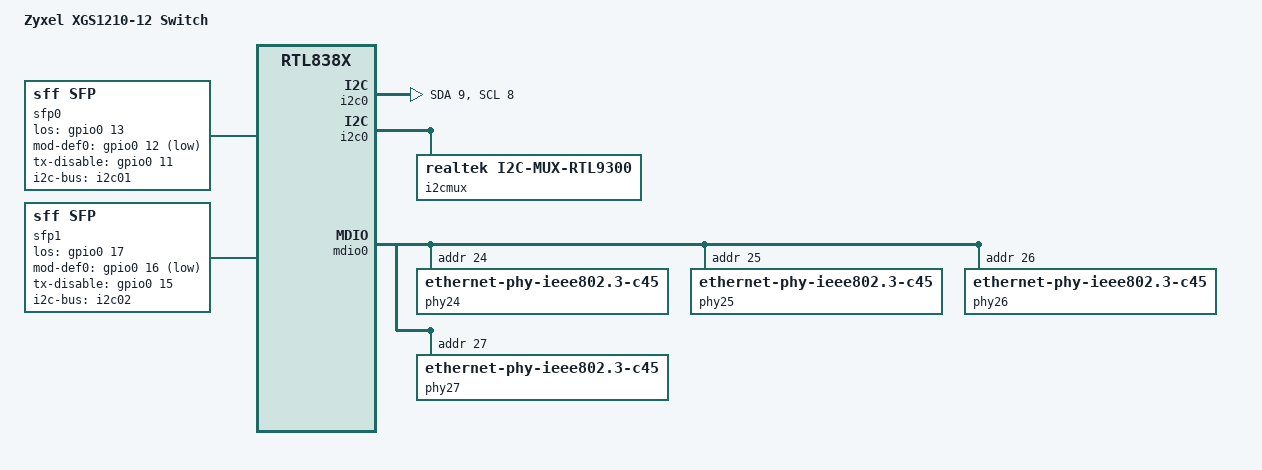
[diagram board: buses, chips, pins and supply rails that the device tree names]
// SPDX-License-Identifier: (GPL-2.0-or-later OR MIT)
/dts-v1/;

#include "rtl9302_zyxel_xgs12xx.dtsi"

/ {
	compatible = "zyxel,xgs1210-12", "realtek,rtl838x-soc";
	model = "Zyxel XGS1210-12 Switch";

	i2c0: i2c-rtl9300 {
		compatible = "realtek,rtl9300-i2c";
		reg = <0x1b00036c 0x3c>;
		#address-cells = <1>;
		#size-cells = <0>;
		sda-pin = <9>;
		scl-pin = <8>;
	};

	i2cmux {
		compatible = "realtek,i2c-mux-rtl9300";
		#address-cells = <1>;
		#size-cells = <0>;
		i2c-parent = <&i2c0>;

		/* i2c of the left SFP+ cage as seen from the front: port 11 */
		i2c01: i2c-rtl9300-1 {
			reg = <1>;
			#address-cells = <1>;
			#size-cells = <0>;
			sda-pin = <9>;
			scl-pin = <8>;
		};

		/* i2c of the right SFP+ cage as seen from the front: port 12 */
		i2c02: i2c-rtl9300-2 {
			reg = <2>;
			#address-cells = <1>;
			#size-cells = <0>;
			sda-pin = <10>;
			scl-pin = <8>;
		};
	};

	sfp0: sfp-p11 {
		compatible = "sff,sfp";
		i2c-bus = <&i2c01>;
		los-gpio = <&gpio0 13 GPIO_ACTIVE_HIGH>;
		mod-def0-gpio = <&gpio0 12 GPIO_ACTIVE_LOW>;
		tx-disable-gpio = <&gpio0 11 GPIO_ACTIVE_HIGH>;
	};

	sfp1: sfp-p12 {
		compatible = "sff,sfp";
		i2c-bus = <&i2c02>;
		los-gpio = <&gpio0 17 GPIO_ACTIVE_HIGH>;
		mod-def0-gpio = <&gpio0 16 GPIO_ACTIVE_LOW>;
		tx-disable-gpio = <&gpio0 15 GPIO_ACTIVE_HIGH>;
	};
};

&partitions {
	partition@300000 {
		openwrt,ih-magic = <0x93001210>;
	};
};

&mdio0 {
	/* External single port 1Gbit/2.5Gbit  RTL8226 PHY */
	phy24: ethernet-phy@24 {
		reg = <24>;
		compatible = "ethernet-phy-ieee802.3-c45";
		rtl9300,smi-address = <1 8>;
		sds = <6>;
	};

	phy25: ethernet-phy@25 {
		reg = <25>;
		compatible = "ethernet-phy-ieee802.3-c45";
		rtl9300,smi-address = <2 9>;
		sds = <7>;
	};

	/* SFP+ Ports */
	phy26: ethernet-phy@26 {
		compatible = "ethernet-phy-ieee802.3-c45";
		phy-is-integrated;
		reg = <26>;
		sds = <8>;
	};

	phy27: ethernet-phy@27 {
		compatible = "ethernet-phy-ieee802.3-c45";
		phy-is-integrated;
		reg = <27>;
		sds = <9>;
	};
};

&switch0_ports {
	port@24 {
		reg = <24>;
		label = "lan9";
		phy-mode = "hsgmii";
		phy-handle = <&phy24>;
		led-set = <1>;
	};
	port@25 {
		reg = <25>;
		label = "lan10";
		phy-mode = "hsgmii";
		phy-handle = <&phy25>;
		led-set = <1>;
	};

	port@26 {
		reg = <26>;
		label = "lan11";
		phy-mode = "1000base-x";
		phy-handle = <&phy26>;
		sfp = <&sfp0>;
		led-set = <2>;
		managed = "in-band-status";
	};
	port@27 {
		reg = <27>;
		label = "lan12";
		phy-mode = "1000base-x";
		phy-handle = <&phy27>;
		sfp = <&sfp1>;
		led-set = <2>;
		managed = "in-band-status";
	};
};
